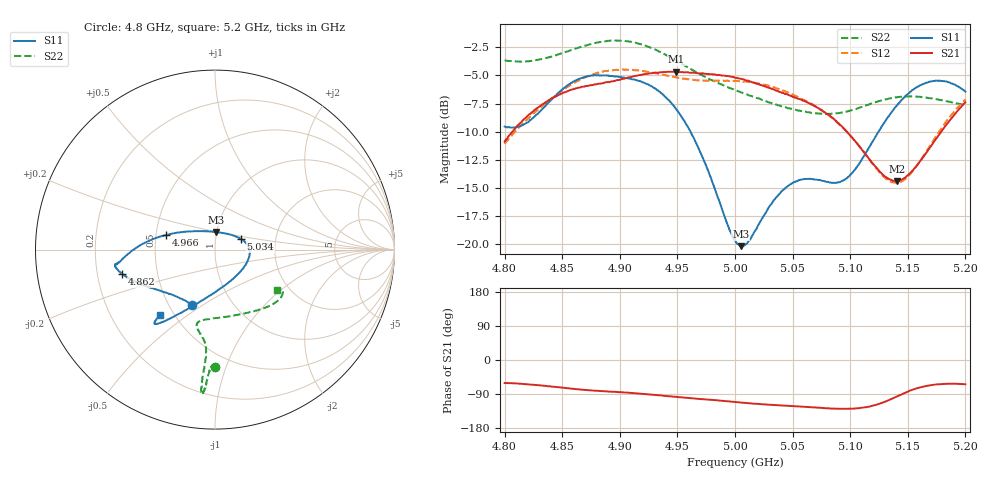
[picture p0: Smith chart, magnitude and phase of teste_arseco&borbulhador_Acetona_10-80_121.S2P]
! Network Analyzer HP8722D
! Hewlett-Packard
! Data name: Linha & Wilkinson
! Saver's name: Rodrigo Anjos
! Comments: Teste da utilização de aquisição
! continua pelo VNA HP8722D
! Time and date: 17/4/2025 15:22
!  Frequency  S11  S21  S12  S22
# HZ  S  MA R 50
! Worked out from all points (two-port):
!   401 points, 4.8 GHz to 5.2 GHz, reference 50 ohm
!   highest |S21| = -4.66 dB at 4.949 GHz (marker M1); lowest = -14.4 dB at 5.141 GHz (marker M2)
!   |S21| within 3 dB of the highest: 4.832 GHz to 5.068 GHz (236.4 MHz wide, 4.78 % of centre); 5.197605 GHz to end of sweep
!   lowest |S11| = -20.2 dB at 5.005 GHz (marker M3), VSWR 1.22, Z = 49.7 + j9.79 ohm
!   |S11| at or under -10 dB: 4.961 GHz to 5.125 GHz (163.3 MHz wide, 3.24 % of centre)
!   |S22| runs from -8.4 to -1.9 dB; largest |S21 - S12| = 0.87
!   S11 on the Smith chart (normalised r, x): 4.8 GHz: 0.65, -0.45; 4.862 GHz: 0.31, -0.12; 4.966 GHz: 0.57, +0.10; 5.034 GHz: 1.33, +0.16; 5.2 GHz: 0.42, -0.40
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4.8e9  0.3332 -113.0  0.2854 -60.8  0.279 -174.9  0.6554 -89.9
4.819e9  0.3459 -132.9  0.3672 -63.7  0.3558 -173.2  0.6505 -91.4
4.862e9  0.5353 -165.3  0.4929 -76.9  0.5273 -176.4  0.7417 -93.7
4.867e9  0.5484 -167.2  0.5012 -78.2  0.5434 -177.4  0.7558 -93.8
4.9e9  0.5542 -171.9  0.5378 -84.8  0.5965 175.9  0.8035 -95.1
4.934e9  0.4787 -177.7  0.5793 -93.3  0.5729 172.1  0.7178 -95.6
4.949e9  0.3976 175.0  0.5847 -97.3  0.5517 172.4  0.6549 -95.2
4.966e9  0.2833 163.2  0.5759 -101.8  0.5353 173.9  0.5828 -94.9
5e9  0.1038 103.6  0.5491 -110.9  0.5325 176.4  0.4835 -99.0
5.005e9  0.09774 86.0  0.5432 -112.2  0.5311 176.4  0.473 -100.1
5.012e9  0.1033 63.0  0.5316 -114.2  0.5253 176.2  0.4586 -101.6
5.034e9  0.1569 22.0  0.4857 -118.9  0.4985 175.0  0.4193 -103.6
5.05e9  0.1866 5.7  0.451 -121.7  0.4621 174.3  0.3982 -99.7
5.067e9  0.1944 -12.5  0.4168 -124.7  0.4186 173.8  0.3831 -90.9
5.086e9  0.1871 -42.5  0.3589 -128.3  0.3569 173.8  0.3804 -76.7
5.097e9  0.1959 -65.2  0.3161 -128.8  0.3168 174.7  0.3888 -67.6
5.134e9  0.3741 -115.8  0.1941 -105.4  0.1908 -158.1  0.4439 -42.9
5.141e9  0.4162 -119.8  0.1905 -95.5  0.1878 -147.2  0.4502 -39.9
5.153e9  0.4797 -124.7  0.209 -79.6  0.2071 -128.8  0.4537 -35.6
5.171e9  0.5294 -128.6  0.2766 -66.0  0.282 -111.9  0.444 -31.5
5.184e9  0.5267 -129.8  0.3426 -62.9  0.3545 -107.1  0.4313 -30.8
5.2e9  0.4762 -130.2  0.427 -64.0  0.4394 -106.2  0.4147 -33.1
